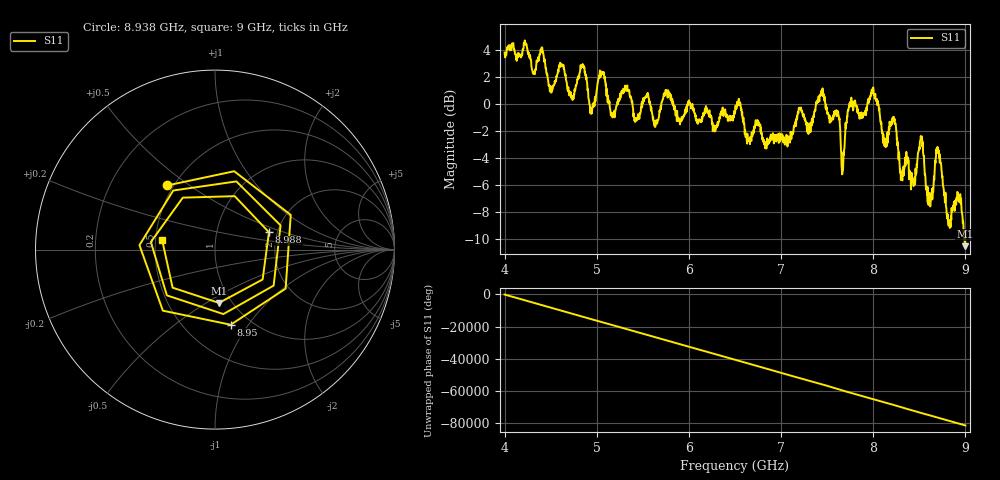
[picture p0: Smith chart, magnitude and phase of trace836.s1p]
! Created with skrf 1.8.0 (http://scikit-rf.org).
# Hz S RI R 50.0
!freq ReS11 ImS11
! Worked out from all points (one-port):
!   1601 points, 4 GHz to 9 GHz, reference 50 ohm
!   lowest |S11| = -10.5 dB at 8.994 GHz (marker M1), VSWR 1.85, Z = 43.6 - j28.4 ohm
!   |S11| at or under -10 dB: 8.987017 GHz to 8.996817 GHz (9.8 MHz wide, 0.109 % of centre); 8.997203 GHz to end of sweep
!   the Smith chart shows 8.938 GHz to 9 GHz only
!   S11 on the Smith chart (normalised r, x): 8.938 GHz: 0.46, +0.41; 8.95 GHz: 0.81, -0.83; 8.988 GHz: 1.81, +0.39; 9 GHz: 0.54, +0.06
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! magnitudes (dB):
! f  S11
! 4 GHz  3.8
! 4.4 GHz  4.1
! 4.503 GHz  1.0
! 4.625 GHz  2.8
! 4.731 GHz  0.6
! 4.847 GHz  3.0
! 4.941 GHz  -0.7
! 5.05 GHz  2.4
! 5.169 GHz  -1.0
! 5.25 GHz  0.5
! 5.875 GHz  -0.9
! 6.5 GHz  -0.6
! 7.125 GHz  -2.2
! 7.444 GHz  0.7
! 7.616 GHz  -0.5
! 7.669 GHz  -4.9
! 7.75 GHz  0.2
! 8 GHz  1.2
! 8.375 GHz  -3.9
! 8.522 GHz  -2.7
! 8.616 GHz  -7.3
! 8.703 GHz  -3.3
! 8.816 GHz  -9.0
! 8.938 GHz  -7.0
! 8.95 GHz  -7.4
! 8.988 GHz  -10.0
! 8.994 GHz  -10.5
! 9 GHz  -10.5
